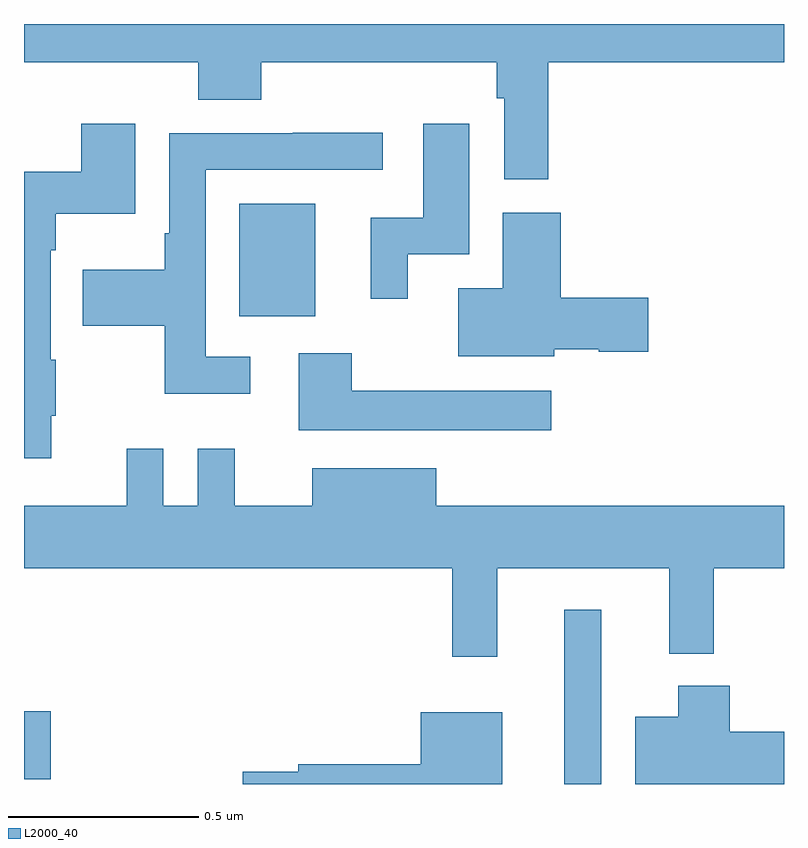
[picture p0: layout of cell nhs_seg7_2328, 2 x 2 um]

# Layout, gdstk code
import gdstk
lib = gdstk.Library(unit=1e-6, precision=1e-09)
def R(c, l, rs):  # rectangles x0, y0, x1, y1
    for r in rs: c.add(gdstk.rectangle(r[:2], r[2:], *l))
def P(c, l, *ps):  # polygons
    for p in ps: c.add(gdstk.Polygon(p, *l))
L2000_40 = (2000, 40)

nhs_seg7_2328 = lib.new_cell('nhs_seg7_2328')
R(nhs_seg7_2328, L2000_40, [(144.422,1048,144.519,1048.459), (143,1048.013,143.071,1048.191), (143.567,1049.231,143.767,1049.527)])
P(nhs_seg7_2328, L2000_40, [(144.38,1049.9),(145,1049.9),(145,1050),(143,1050),(143,1049.9),(143.459,1049.9),(143.459,1049.801),(143.624,1049.801),(143.624,1049.9),(144.244,1049.9),(144.244,1049.804),(144.264,1049.804),(144.264,1049.592),(144.38,1049.592)],
  [(143.072,1048.969),(143.083,1048.969),(143.083,1049.117),(143.07,1049.117),(143.07,1049.405),(143.083,1049.405),(143.083,1049.501),(143.293,1049.501),(143.293,1049.737),(143.15,1049.737),(143.15,1049.611),(143,1049.611),(143,1048.857),(143.072,1048.857)],
  [(144.01,1049.394),(144.172,1049.394),(144.172,1049.737),(144.05,1049.737),(144.05,1049.49),(143.912,1049.49),(143.912,1049.277),(144.01,1049.277)],
  [(143.596,1049.124),(143.478,1049.124),(143.478,1049.616),(143.944,1049.616),(143.944,1049.714),(143.707,1049.714),(143.707,1049.712),(143.382,1049.712),(143.382,1049.449),(143.37,1049.449),(143.37,1049.353),(143.155,1049.353),(143.155,1049.206),(143.37,1049.206),(143.37,1049.027),(143.596,1049.027)],
  [(144.396,1049.144),(144.513,1049.144),(144.513,1049.137),(144.643,1049.137),(144.643,1049.279),(144.413,1049.279),(144.413,1049.503),(144.26,1049.503),(144.26,1049.305),(144.143,1049.305),(144.143,1049.126),(144.396,1049.126)],
  [(144.388,1049.035),(143.863,1049.035),(143.863,1049.134),(143.723,1049.134),(143.723,1048.931),(144.388,1048.931)],
  [(144.245,1048.568),(144.698,1048.568),(144.698,1048.343),(144.815,1048.343),(144.815,1048.568),(145,1048.568),(145,1048.732),(144.085,1048.732),(144.085,1048.831),(143.759,1048.831),(143.759,1048.732),(143.555,1048.732),(143.555,1048.882),(143.457,1048.882),(143.457,1048.732),(143.367,1048.732),(143.367,1048.882),(143.27,1048.882),(143.27,1048.732),(143,1048.732),(143,1048.568),(144.127,1048.568),(144.127,1048.335),(144.245,1048.335)],
  [(145,1048.137),(144.857,1048.137),(144.857,1048.258),(144.722,1048.258),(144.722,1048.177),(144.608,1048.177),(144.608,1048),(145,1048)],
  [(144.259,1048.189),(144.044,1048.189),(144.044,1048.052),(143.722,1048.052),(143.722,1048.032),(143.576,1048.032),(143.576,1048),(144.259,1048)])

lib.write_gds('nhs_seg7_2328.gds')
